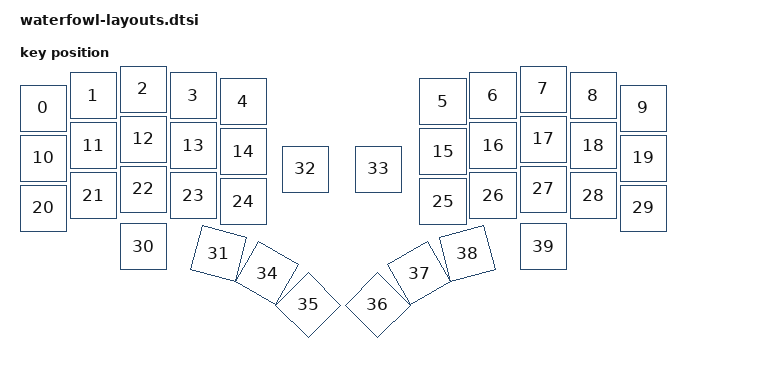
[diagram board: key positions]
/ {
    waterfowl_physical_layout: waterfowl_physical_layout {
        compatible = "zmk,physical-layout";
        display-name = "Waterfowl";
        transform = <&default_transform>;
        kscan = <&kscan0>;

        keys  //                     w   h    x    y     rot    rx    ry
            = <&key_physical_attrs 100 100    0   38       0     0     0>
            , <&key_physical_attrs 100 100  100   13       0     0     0>
            , <&key_physical_attrs 100 100  200    0       0     0     0>
            , <&key_physical_attrs 100 100  300   13       0     0     0>
            , <&key_physical_attrs 100 100  400   25       0     0     0>
            , <&key_physical_attrs 100 100  800   25       0     0     0>
            , <&key_physical_attrs 100 100  900   13       0     0     0>
            , <&key_physical_attrs 100 100 1000    0       0     0     0>
            , <&key_physical_attrs 100 100 1100   13       0     0     0>
            , <&key_physical_attrs 100 100 1200   38       0     0     0>
            , <&key_physical_attrs 100 100    0  138       0     0     0>
            , <&key_physical_attrs 100 100  100  113       0     0     0>
            , <&key_physical_attrs 100 100  200  100       0     0     0>
            , <&key_physical_attrs 100 100  300  113       0     0     0>
            , <&key_physical_attrs 100 100  400  125       0     0     0>
            , <&key_physical_attrs 100 100  800  125       0     0     0>
            , <&key_physical_attrs 100 100  900  113       0     0     0>
            , <&key_physical_attrs 100 100 1000  100       0     0     0>
            , <&key_physical_attrs 100 100 1100  113       0     0     0>
            , <&key_physical_attrs 100 100 1200  138       0     0     0>
            , <&key_physical_attrs 100 100    0  238       0     0     0>
            , <&key_physical_attrs 100 100  100  213       0     0     0>
            , <&key_physical_attrs 100 100  200  200       0     0     0>
            , <&key_physical_attrs 100 100  300  213       0     0     0>
            , <&key_physical_attrs 100 100  400  225       0     0     0>
            , <&key_physical_attrs 100 100  800  225       0     0     0>
            , <&key_physical_attrs 100 100  900  213       0     0     0>
            , <&key_physical_attrs 100 100 1000  200       0     0     0>
            , <&key_physical_attrs 100 100 1100  213       0     0     0>
            , <&key_physical_attrs 100 100 1200  238       0     0     0>
            , <&key_physical_attrs 100 100  200  315       0     0     0>
            , <&key_physical_attrs 100 100  248  315    1500   298   765>
            , <&key_physical_attrs 100 100  525  160       0     0     0>
            , <&key_physical_attrs 100 100  670  160       0     0     0>
            , <&key_physical_attrs 100 100  248  315    3000   298   765>
            , <&key_physical_attrs 100 100  248  315    4500   298   765>
            , <&key_physical_attrs 100 100  952  315 (-4500)  1002   765>
            , <&key_physical_attrs 100 100  952  315 (-3000)  1002   765>
            , <&key_physical_attrs 100 100  952  315 (-1500)  1002   765>
            , <&key_physical_attrs 100 100 1000  315       0     0     0>
            ;
    };

    waterfowl_position_map {
        compatible = "zmk,physical-layout-position-map";

        complete;

        waterfowl_map: waterfowl {
            physical-layout = <&waterfowl_physical_layout>;
            positions
                = < 0  1  2  3  4  5  6  7  8  9>
                , <10 11 12 13 14 15 16 17 18 19>
                , <20 21 22 23 24 25 26 27 28 29>
                , <30 31 32 33 34 35 36 37 38 39>;
        };
    };
};
